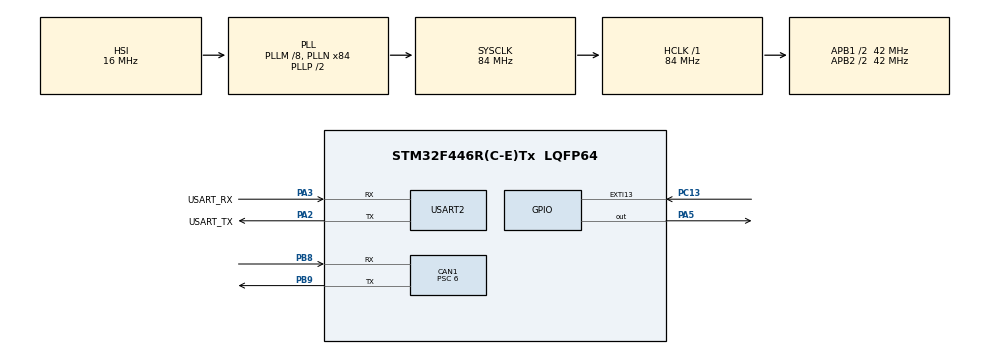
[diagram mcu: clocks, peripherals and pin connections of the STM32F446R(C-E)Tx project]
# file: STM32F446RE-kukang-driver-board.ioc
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CAN1.BS1=CAN_BS1_11TQ
CAN1.BS2=CAN_BS2_2TQ
CAN1.CalculateBaudRate=500000
CAN1.CalculateTimeBit=2000
CAN1.CalculateTimeQuantum=142.85714285714286
CAN1.Prescaler=6
Mcu.Family=STM32F4
Mcu.Name=STM32F446R(C-E)Tx
Mcu.Package=LQFP64
NUCLEO-F446RE.BUTTON=1
NUCLEO-F446RE.LD1=true
NVIC.CAN1_RX0_IRQn=true\:0\:0\:false\:false\:true\:true\:true\:true
NVIC.CAN1_RX1_IRQn=true\:0\:0\:false\:false\:true\:true\:true\:true
NVIC.CAN1_SCE_IRQn=true\:0\:0\:false\:false\:true\:true\:true\:true
NVIC.CAN1_TX_IRQn=true\:0\:0\:false\:false\:true\:true\:true\:true
NVIC.EXTI15_10_IRQn=true\:0\:0\:false\:false\:true\:false\:true\:true
NVIC.PriorityGroup=NVIC_PRIORITYGROUP_0
PA13.GPIO_Label=TMS
PA13.Mode=Trace_Asynchronous_SW
PA13.Signal=SYS_JTMS-SWDIO
PA14.GPIO_Label=TCK
PA14.Mode=Trace_Asynchronous_SW
PA14.Signal=SYS_JTCK-SWCLK
PA2.GPIO_Label=USART_TX
PA2.Mode=Asynchronous
PA2.Signal=USART2_TX
PA3.GPIO_Label=USART_RX
PA3.Mode=Asynchronous
PA3.Signal=USART2_RX
PA5.Signal=GPIO_Output
PB3.GPIO_Label=SWO
PB3.Mode=Trace_Asynchronous_SW
PB3.Signal=SYS_JTDO-SWO
PB8.GPIO_PuPd=GPIO_PULLUP
PB8.Mode=CAN_Activate
PB8.Signal=CAN1_RX
PB9.Mode=CAN_Activate
PB9.Signal=CAN1_TX
PC13.Signal=GPXTI13
PC14-OSC32_IN.Mode=LSE-External-Oscillator
PC14-OSC32_IN.Signal=RCC_OSC32_IN
PC15-OSC32_OUT.Mode=LSE-External-Oscillator
PC15-OSC32_OUT.Signal=RCC_OSC32_OUT
PH0-OSC_IN.Signal=RCC_OSC_IN
PH1-OSC_OUT.Signal=RCC_OSC_OUT
ProjectManager.HeapSize=0x200
ProjectManager.StackSize=0x400
ProjectManager.TargetToolchain=STM32CubeIDE
RCC.AHBFreq_Value=84000000
RCC.APB1CLKDivider=RCC_HCLK_DIV2
RCC.APB1Freq_Value=42000000
RCC.APB1TimFreq_Value=84000000
RCC.APB2CLKDivider=RCC_HCLK_DIV2
RCC.APB2Freq_Value=42000000
RCC.APB2TimFreq_Value=84000000
RCC.CortexFreq_Value=84000000
RCC.FLatency-AdvancedSettings=FLASH_LATENCY_2
RCC.HCLKFreq_Value=84000000
RCC.HSE_VALUE=8000000
RCC.HSI_VALUE=16000000
RCC.PLLM=8
RCC.PLLN=84
RCC.SYSCLKFreq_VALUE=84000000
RCC.SYSCLKSource=RCC_SYSCLKSOURCE_PLLCLK
RCC.USBFreq_Value=84000000
RCC.VCOOutputFreq_Value=168000000
USART2.VirtualMode=VM_ASYNC
VP_NUCLEO-F446RE_VS_BSP_COMMON.Mode=COMMON
board=NUCLEO-F446RE

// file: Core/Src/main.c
/* USER CODE BEGIN Header */
/**
  ******************************************************************************
  * @file           : main.c
  * @brief          : Main program body
  ******************************************************************************
  * @attention
  *
  * Copyright (c) 2026 STMicroelectronics.
  * All rights reserved.
  *
  * This software is licensed under terms that can be found in the LICENSE file
  * in the root directory of this software component.
  * If no LICENSE file comes with this software, it is provided AS-IS.
  *
  ******************************************************************************
  */
/* USER CODE END Header */
#include "main.h"

CAN_HandleTypeDef hcan1;

UART_HandleTypeDef huart2;

void SystemClock_Config(void);
static void MX_GPIO_Init(void);
static void MX_CAN1_Init(void);
static void MX_USART2_UART_Init(void);

/* USER CODE BEGIN 0 */
CAN_TxHeaderTypeDef TxHeader;
CAN_RxHeaderTypeDef RxHeader;
uint8_t TxData[8];
uint8_t RxData[8];
uint32_t TxMailbox;

void HAL_CAN_RxFifo0MsgPendingCallback(CAN_HandleTypeDef *hcan)
{
  if (HAL_CAN_GetRxMessage(hcan, CAN_RX_FIFO0, &RxHeader, RxData) != HAL_OK)
  {
    Error_Handler();
  }

  if (RxHeader.StdId == 0x10)
  {
    BSP_LED_Toggle(LED2);
  }
}
/* USER CODE END 0 */

int main(void)
{

  /* MCU Configuration--------------------------------------------------------*/

  /* Reset of all peripherals, Initializes the Flash interface and the Systick. */
  HAL_Init();

  /* Configure the system clock */
  SystemClock_Config();

  /* Initialize all configured peripherals */
  MX_GPIO_Init();
  MX_CAN1_Init();
  MX_USART2_UART_Init();
  /* USER CODE BEGIN 2 */
  CAN_FilterTypeDef canfilterconfig;

  canfilterconfig.FilterActivation = CAN_FILTER_ENABLE;
  canfilterconfig.FilterBank = 0;
  canfilterconfig.FilterFIFOAssignment = CAN_FILTER_FIFO0;
  canfilterconfig.FilterIdHigh = 0x0000;
  canfilterconfig.FilterIdLow = 0x0000;
  canfilterconfig.FilterMaskIdHigh = 0x0000;
  canfilterconfig.FilterMaskIdLow = 0x0000;
  canfilterconfig.FilterMode = CAN_FILTERMODE_IDMASK;
  canfilterconfig.FilterScale = CAN_FILTERSCALE_32BIT;
  canfilterconfig.SlaveStartFilterBank = 14;

  if (HAL_CAN_ConfigFilter(&hcan1, &canfilterconfig) != HAL_OK)
  {
    Error_Handler();
  }

  if (HAL_CAN_Start(&hcan1) != HAL_OK)
  {
    Error_Handler();
  }

  if (HAL_CAN_ActivateNotification(&hcan1, CAN_IT_RX_FIFO0_MSG_PENDING) != HAL_OK)
  {
    Error_Handler();
  }

  TxHeader.StdId = 0x20;
  TxHeader.ExtId = 0x01;
  TxHeader.RTR = CAN_RTR_DATA;
  TxHeader.IDE = CAN_ID_STD;
  TxHeader.DLC = 1;
  TxHeader.TransmitGlobalTime = DISABLE;
  /* USER CODE END 2 */

  /* Initialize leds */
  BSP_LED_Init(LED2);

  /* Initialize USER push-button, will be used to trigger an interrupt each time it's pressed.*/
  BSP_PB_Init(BUTTON_USER, BUTTON_MODE_EXTI);

  /* Infinite loop */
  while (1)
  {

  }
}

void SystemClock_Config(void)
{
  RCC_OscInitTypeDef RCC_OscInitStruct = {0};
  RCC_ClkInitTypeDef RCC_ClkInitStruct = {0};

  /** Configure the main internal regulator output voltage
  */
  __HAL_RCC_PWR_CLK_ENABLE();
  __HAL_PWR_VOLTAGESCALING_CONFIG(PWR_REGULATOR_VOLTAGE_SCALE3);

  /** Initializes the RCC Oscillators according to the specified parameters
  * in the RCC_OscInitTypeDef structure.
  */
  RCC_OscInitStruct.OscillatorType = RCC_OSCILLATORTYPE_HSI;
  RCC_OscInitStruct.HSIState = RCC_HSI_ON;
  RCC_OscInitStruct.HSICalibrationValue = RCC_HSICALIBRATION_DEFAULT;
  RCC_OscInitStruct.PLL.PLLState = RCC_PLL_ON;
  RCC_OscInitStruct.PLL.PLLSource = RCC_PLLSOURCE_HSI;
  RCC_OscInitStruct.PLL.PLLM = 8;
  RCC_OscInitStruct.PLL.PLLN = 84;
  RCC_OscInitStruct.PLL.PLLP = RCC_PLLP_DIV2;
  RCC_OscInitStruct.PLL.PLLQ = 2;
  RCC_OscInitStruct.PLL.PLLR = 2;
  if (HAL_RCC_OscConfig(&RCC_OscInitStruct) != HAL_OK)
  {
    Error_Handler();
  }

  /** Initializes the CPU, AHB and APB buses clocks
  */
  RCC_ClkInitStruct.ClockType = RCC_CLOCKTYPE_HCLK|RCC_CLOCKTYPE_SYSCLK
                              |RCC_CLOCKTYPE_PCLK1|RCC_CLOCKTYPE_PCLK2;
  RCC_ClkInitStruct.SYSCLKSource = RCC_SYSCLKSOURCE_PLLCLK;
  RCC_ClkInitStruct.AHBCLKDivider = RCC_SYSCLK_DIV1;
  RCC_ClkInitStruct.APB1CLKDivider = RCC_HCLK_DIV2;
  RCC_ClkInitStruct.APB2CLKDivider = RCC_HCLK_DIV2;

  if (HAL_RCC_ClockConfig(&RCC_ClkInitStruct, FLASH_LATENCY_2) != HAL_OK)
  {
    Error_Handler();
  }
}

static void MX_CAN1_Init(void)
{

  hcan1.Instance = CAN1;
  hcan1.Init.Prescaler = 6;
  hcan1.Init.Mode = CAN_MODE_NORMAL;
  hcan1.Init.SyncJumpWidth = CAN_SJW_1TQ;
  hcan1.Init.TimeSeg1 = CAN_BS1_11TQ;
  hcan1.Init.TimeSeg2 = CAN_BS2_2TQ;
  hcan1.Init.TimeTriggeredMode = DISABLE;
  hcan1.Init.AutoBusOff = DISABLE;
  hcan1.Init.AutoWakeUp = DISABLE;
  hcan1.Init.AutoRetransmission = DISABLE;
  hcan1.Init.ReceiveFifoLocked = DISABLE;
  hcan1.Init.TransmitFifoPriority = DISABLE;
  if (HAL_CAN_Init(&hcan1) != HAL_OK)
  {
    Error_Handler();
  }

}

static void MX_USART2_UART_Init(void)
{

  huart2.Instance = USART2;
  huart2.Init.BaudRate = 115200;
  huart2.Init.WordLength = UART_WORDLENGTH_8B;
  huart2.Init.StopBits = UART_STOPBITS_1;
  huart2.Init.Parity = UART_PARITY_NONE;
  huart2.Init.Mode = UART_MODE_TX_RX;
  huart2.Init.HwFlowCtl = UART_HWCONTROL_NONE;
  huart2.Init.OverSampling = UART_OVERSAMPLING_16;
  if (HAL_UART_Init(&huart2) != HAL_OK)
  {
    Error_Handler();
  }

}

static void MX_GPIO_Init(void)
{

  /* GPIO Ports Clock Enable */
  __HAL_RCC_GPIOC_CLK_ENABLE();
  __HAL_RCC_GPIOH_CLK_ENABLE();
  __HAL_RCC_GPIOA_CLK_ENABLE();
  __HAL_RCC_GPIOB_CLK_ENABLE();

}

/* USER CODE BEGIN 4 */
void HAL_GPIO_EXTI_Callback(uint16_t GPIO_Pin)
{
  if(GPIO_Pin == GPIO_PIN_13)
  {
    static uint32_t last_interrupt_time = 0;
    uint32_t interrupt_time = HAL_GetTick();
    if (interrupt_time - last_interrupt_time > 200)
    {
      TxData[0] = 1;
      HAL_CAN_AddTxMessage(&hcan1, &TxHeader, TxData, &TxMailbox);
      last_interrupt_time = interrupt_time;
    }
  }
}
/* USER CODE END 4 */

void Error_Handler(void)
{
  __disable_irq();
  while (1)
  {
  }
}
